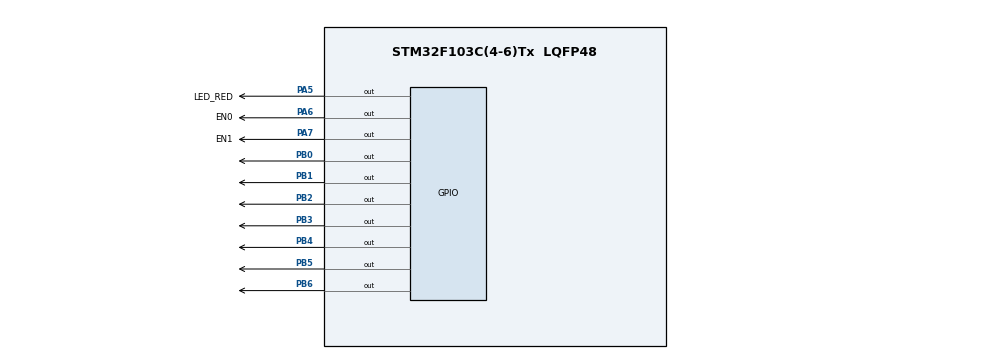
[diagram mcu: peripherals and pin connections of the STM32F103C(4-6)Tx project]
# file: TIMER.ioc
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Mcu.Family=STM32F1
Mcu.Name=STM32F103C(4-6)Tx
Mcu.Package=LQFP48
NVIC.PriorityGroup=NVIC_PRIORITYGROUP_4
NVIC.TIM2_IRQn=true\:0\:0\:false\:false\:true\:true\:true
PA5.GPIO_Label=LED_RED
PA5.Signal=GPIO_Output
PA6.GPIO_Label=EN0
PA6.Signal=GPIO_Output
PA7.GPIO_Label=EN1
PA7.Signal=GPIO_Output
PB0.Signal=GPIO_Output
PB1.Signal=GPIO_Output
PB2.Signal=GPIO_Output
PB3.Signal=GPIO_Output
PB4.Signal=GPIO_Output
PB5.Signal=GPIO_Output
PB6.Signal=GPIO_Output
ProjectManager.HeapSize=0x200
ProjectManager.StackSize=0x400
ProjectManager.TargetToolchain=STM32CubeIDE
RCC.APB1Freq_Value=8000000
RCC.APB2Freq_Value=8000000
TIM2.Period=9
TIM2.Prescaler=7999
VP_SYS_VS_ND.Mode=No_Debug
VP_TIM2_VS_ClockSourceINT.Mode=Internal
board=custom

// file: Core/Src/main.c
/* USER CODE BEGIN Header */
/**
  ******************************************************************************
  * @file           : main.c
  * @brief          : Main program body
  ******************************************************************************
  * @attention
  *
  * <h2><center>&copy; Copyright (c) 2023 STMicroelectronics.
  * All rights reserved.</center></h2>
  *
  * This software component is licensed by ST under BSD 3-Clause license,
  * the "License"; You may not use this file except in compliance with the
  * License. You may obtain a copy of the License at:
  *                        opensource.org/licenses/BSD-3-Clause
  *
  ******************************************************************************
  */
/* USER CODE END Header */
#include "main.h"
#include "software_timer.h"

TIM_HandleTypeDef htim2;

void SystemClock_Config(void);
static void MX_GPIO_Init(void);
static void MX_TIM2_Init(void);

int main(void)
{

  /* MCU Configuration--------------------------------------------------------*/

  /* Reset of all peripherals, Initializes the Flash interface and the Systick. */
  HAL_Init();

  /* Configure the system clock */
  SystemClock_Config();

  /* Initialize all configured peripherals */
  MX_GPIO_Init();
  MX_TIM2_Init();
  /* USER CODE BEGIN 2 */
  HAL_TIM_Base_Start_IT(&htim2);
  /* USER CODE END 2 */

  /* Infinite loop */
  /* USER CODE BEGIN WHILE */
  void turnonEN0() {
  	HAL_GPIO_WritePin(GPIOA, EN0_Pin, RESET);
  	HAL_GPIO_WritePin(GPIOA, EN1_Pin, SET);
  }

  void turnonEN1() {
  	HAL_GPIO_WritePin(GPIOA, EN0_Pin, SET);
  	HAL_GPIO_WritePin(GPIOA, EN1_Pin, RESET);
  }

  void display7SEG(int num){
  	HAL_GPIO_WritePin(GPIOB, GPIO_PIN_0 | GPIO_PIN_1 | GPIO_PIN_2 | GPIO_PIN_3 | GPIO_PIN_4 | GPIO_PIN_5 | GPIO_PIN_6, SET);
  	switch (num) {
  		case 0:
  			HAL_GPIO_WritePin(GPIOB, GPIO_PIN_0 | GPIO_PIN_1 | GPIO_PIN_2 | GPIO_PIN_3 | GPIO_PIN_4 | GPIO_PIN_5, RESET);
  			break;
  		case 1:
  			HAL_GPIO_WritePin(GPIOB, GPIO_PIN_1 | GPIO_PIN_2, RESET);
  			break;
  		case 2:
  			HAL_GPIO_WritePin(GPIOB, GPIO_PIN_0 | GPIO_PIN_1 | GPIO_PIN_3 | GPIO_PIN_4 | GPIO_PIN_6, RESET);
  			break;
  		case 3:
  			HAL_GPIO_WritePin(GPIOB, GPIO_PIN_0 | GPIO_PIN_1 | GPIO_PIN_2 | GPIO_PIN_3 | GPIO_PIN_6, RESET);
  			break;
  		case 4:
  			HAL_GPIO_WritePin(GPIOB, GPIO_PIN_1 | GPIO_PIN_2 | GPIO_PIN_5 | GPIO_PIN_6, RESET);
  			break;
  		case 5:
  			HAL_GPIO_WritePin(GPIOB, GPIO_PIN_0 | GPIO_PIN_2 | GPIO_PIN_3 | GPIO_PIN_5 | GPIO_PIN_6, RESET);
  			break;
  		case 6:
  			HAL_GPIO_WritePin(GPIOB, GPIO_PIN_0 | GPIO_PIN_2 | GPIO_PIN_3 | GPIO_PIN_4 | GPIO_PIN_5 | GPIO_PIN_6, RESET);
  			break;
  		case 7:
  			HAL_GPIO_WritePin(GPIOB, GPIO_PIN_0 | GPIO_PIN_1 | GPIO_PIN_2, RESET);
  			break;
  		case 8:
  			HAL_GPIO_WritePin(GPIOB, GPIO_PIN_0 | GPIO_PIN_1 | GPIO_PIN_2 | GPIO_PIN_3 | GPIO_PIN_4 | GPIO_PIN_5 | GPIO_PIN_6, RESET);
  			break;
  		case 9:
  			HAL_GPIO_WritePin(GPIOB, GPIO_PIN_0 | GPIO_PIN_1 | GPIO_PIN_2 | GPIO_PIN_3 | GPIO_PIN_5 | GPIO_PIN_6, RESET);
  			break;
  	}
  }

  void clear(){
  	HAL_GPIO_WritePin(GPIOA, LED_RED_Pin, SET);
  	HAL_GPIO_WritePin(GPIOA, EN0_Pin, SET);
  	HAL_GPIO_WritePin(GPIOA, EN1_Pin, SET);
  	HAL_GPIO_WritePin(GPIOB, GPIO_PIN_All, SET);
  }
  setTimer1(100);
  setTimer2(50);
  int status = 1;
  clear();
  while (1)
  {
    /* USER CODE END WHILE */
	  if (timer1_flag == 1){
		  setTimer1(100);
		  HAL_GPIO_TogglePin(LED_RED_GPIO_Port, LED_RED_Pin);
	  }
	  if (timer2_flag == 1){
		  setTimer2(50);
		  switch (status) {
		  	  case 1:
		  		  turnonEN0();
		  		  display7SEG(1);
		  		  status = 2;
		  	  break;
		  	  case 2:
		  		  turnonEN1();
		  		  display7SEG(2);
		  		  status = 1;
		  	  break;
		  	  default:
		  		  setTimer2(50);
		  	  break;
		  }
	  }
  }
}

void SystemClock_Config(void)
{
  RCC_OscInitTypeDef RCC_OscInitStruct = {0};
  RCC_ClkInitTypeDef RCC_ClkInitStruct = {0};

  /** Initializes the RCC Oscillators according to the specified parameters
  * in the RCC_OscInitTypeDef structure.
  */
  RCC_OscInitStruct.OscillatorType = RCC_OSCILLATORTYPE_HSI;
  RCC_OscInitStruct.HSIState = RCC_HSI_ON;
  RCC_OscInitStruct.HSICalibrationValue = RCC_HSICALIBRATION_DEFAULT;
  RCC_OscInitStruct.PLL.PLLState = RCC_PLL_NONE;
  if (HAL_RCC_OscConfig(&RCC_OscInitStruct) != HAL_OK)
  {
    Error_Handler();
  }
  /** Initializes the CPU, AHB and APB buses clocks
  */
  RCC_ClkInitStruct.ClockType = RCC_CLOCKTYPE_HCLK|RCC_CLOCKTYPE_SYSCLK
                              |RCC_CLOCKTYPE_PCLK1|RCC_CLOCKTYPE_PCLK2;
  RCC_ClkInitStruct.SYSCLKSource = RCC_SYSCLKSOURCE_HSI;
  RCC_ClkInitStruct.AHBCLKDivider = RCC_SYSCLK_DIV1;
  RCC_ClkInitStruct.APB1CLKDivider = RCC_HCLK_DIV1;
  RCC_ClkInitStruct.APB2CLKDivider = RCC_HCLK_DIV1;

  if (HAL_RCC_ClockConfig(&RCC_ClkInitStruct, FLASH_LATENCY_0) != HAL_OK)
  {
    Error_Handler();
  }
}

static void MX_TIM2_Init(void)
{

  TIM_ClockConfigTypeDef sClockSourceConfig = {0};
  TIM_MasterConfigTypeDef sMasterConfig = {0};

  htim2.Instance = TIM2;
  htim2.Init.Prescaler = 7999;
  htim2.Init.CounterMode = TIM_COUNTERMODE_UP;
  htim2.Init.Period = 9;
  htim2.Init.ClockDivision = TIM_CLOCKDIVISION_DIV1;
  htim2.Init.AutoReloadPreload = TIM_AUTORELOAD_PRELOAD_DISABLE;
  if (HAL_TIM_Base_Init(&htim2) != HAL_OK)
  {
    Error_Handler();
  }
  sClockSourceConfig.ClockSource = TIM_CLOCKSOURCE_INTERNAL;
  if (HAL_TIM_ConfigClockSource(&htim2, &sClockSourceConfig) != HAL_OK)
  {
    Error_Handler();
  }
  sMasterConfig.MasterOutputTrigger = TIM_TRGO_RESET;
  sMasterConfig.MasterSlaveMode = TIM_MASTERSLAVEMODE_DISABLE;
  if (HAL_TIMEx_MasterConfigSynchronization(&htim2, &sMasterConfig) != HAL_OK)
  {
    Error_Handler();
  }

}

static void MX_GPIO_Init(void)
{
  GPIO_InitTypeDef GPIO_InitStruct = {0};

  /* GPIO Ports Clock Enable */
  __HAL_RCC_GPIOA_CLK_ENABLE();
  __HAL_RCC_GPIOB_CLK_ENABLE();

  /*Configure GPIO pin Output Level */
  HAL_GPIO_WritePin(GPIOA, LED_RED_Pin|EN0_Pin|EN1_Pin, GPIO_PIN_RESET);

  /*Configure GPIO pin Output Level */
  HAL_GPIO_WritePin(GPIOB, GPIO_PIN_0|GPIO_PIN_1|GPIO_PIN_2|GPIO_PIN_3
                          |GPIO_PIN_4|GPIO_PIN_5|GPIO_PIN_6, GPIO_PIN_RESET);

  /*Configure GPIO pins : LED_RED_Pin EN0_Pin EN1_Pin */
  GPIO_InitStruct.Pin = LED_RED_Pin|EN0_Pin|EN1_Pin;
  GPIO_InitStruct.Mode = GPIO_MODE_OUTPUT_PP;
  GPIO_InitStruct.Pull = GPIO_NOPULL;
  GPIO_InitStruct.Speed = GPIO_SPEED_FREQ_LOW;
  HAL_GPIO_Init(GPIOA, &GPIO_InitStruct);

  /*Configure GPIO pins : PB0 PB1 PB2 PB3
                           PB4 PB5 PB6 */
  GPIO_InitStruct.Pin = GPIO_PIN_0|GPIO_PIN_1|GPIO_PIN_2|GPIO_PIN_3
                          |GPIO_PIN_4|GPIO_PIN_5|GPIO_PIN_6;
  GPIO_InitStruct.Mode = GPIO_MODE_OUTPUT_PP;
  GPIO_InitStruct.Pull = GPIO_NOPULL;
  GPIO_InitStruct.Speed = GPIO_SPEED_FREQ_LOW;
  HAL_GPIO_Init(GPIOB, &GPIO_InitStruct);

}

/* USER CODE BEGIN 4 */
void HAL_TIM_PeriodElapsedCallback(TIM_HandleTypeDef *htim){
	timerRun();
}
/* USER CODE END 4 */

void Error_Handler(void)
{
  __disable_irq();
  while (1)
  {
  }
}

/************************ (C) COPYRIGHT STMicroelectronics *****END OF FILE****/
